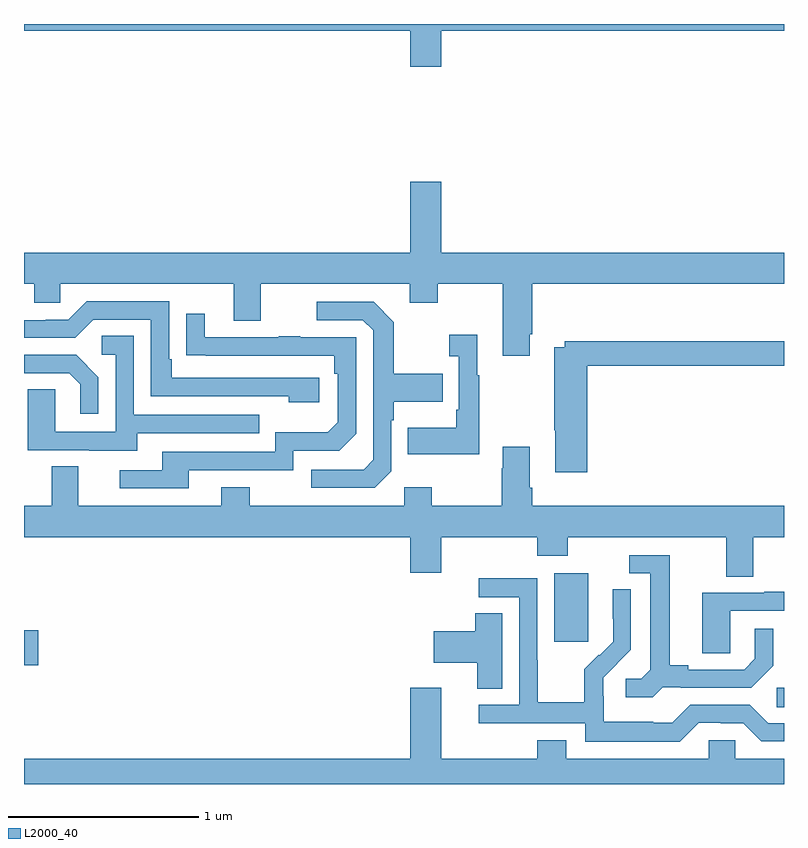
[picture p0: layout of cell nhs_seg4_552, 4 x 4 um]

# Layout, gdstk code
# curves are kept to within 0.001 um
import gdstk
lib = gdstk.Library(unit=1e-6, precision=1e-09)
def R(c, l, rs):  # rectangles x0, y0, x1, y1
    for r in rs: c.add(gdstk.rectangle(r[:2], r[2:], *l))
def P(c, l, *ps):  # polygons
    for p in ps: c.add(gdstk.Polygon(p, *l))
L2000_40 = (2000, 40)

nhs_seg4_552 = lib.new_cell('nhs_seg4_552')
R(nhs_seg4_552, L2000_40, [(142.962,749.305,143,749.406), (139,749.525,139.075,749.708), (141.791,749.649,141.97,750.01)])
P(nhs_seg4_552, L2000_40, [(141.196,752.864),(143,752.864),(143,752.9),(139,752.9),(139,752.864),(141.032,752.864),(141.032,752.676),(141.196,752.676)],
  [(141.661,751.267),(141.674,751.267),(141.674,751.532),(143,751.532),(143,751.696),(141.196,751.696),(141.196,752.071),(141.032,752.071),(141.032,751.696),(139,751.696),(139,751.532),(139.053,751.532),(139.053,751.434),(139.191,751.434),(139.191,751.532),(140.105,751.532),(140.105,751.338),(140.245,751.338),(140.245,751.532),(141.029,751.532),(141.029,751.433),(141.177,751.433),(141.177,751.532),(141.521,751.532),(141.521,751.155),(141.661,751.155)],
  [(140.554,751.038),(139.777,751.038),(139.777,751.135),(139.764,751.135),(139.764,751.44),(139.329,751.44),(139.233,751.344),(139.115,751.344),(139.115,751.341),(139,751.341),(139,751.248),(139.269,751.248),(139.365,751.344),(139.668,751.344),(139.668,750.942),(140.393,750.942),(140.393,750.908),(140.554,750.908)],
  [(140.934,750.546),(140.934,750.815),(140.947,750.815),(140.947,750.911),(141.203,750.911),(141.203,751.059),(140.947,751.059),(140.947,751.331),(140.841,751.437),(140.541,751.437),(140.541,751.341),(140.784,751.341),(140.838,751.287),(140.838,750.606),(140.787,750.555),(140.511,750.555),(140.511,750.459),(140.847,750.459)],
  [(139.867,750.552),(140.418,750.552),(140.418,750.654),(140.658,750.654),(140.748,750.744),(140.748,751.251),(140.453,751.251),(140.453,751.256),(140.341,751.256),(140.341,751.251),(139.951,751.251),(139.951,751.375),(139.855,751.375),(139.855,751.156),(140.632,751.155),(140.632,751.058),(140.652,751.058),(140.652,750.804),(140.599,750.751),(140.322,750.751),(140.322,750.648),(139.727,750.648),(139.727,750.552),(139.503,750.552),(139.503,750.456),(139.867,750.456)],
  [(141.397,751.051),(141.385,751.051),(141.385,751.264),(141.237,751.264),(141.237,751.151),(141.288,751.151),(141.288,750.871),(141.276,750.871),(141.276,750.775),(141.019,750.775),(141.019,750.635),(141.397,750.635)],
  [(139.597,750.747),(140.237,750.747),(140.237,750.843),(139.578,750.843),(139.578,751.259),(139.41,751.259),(139.41,751.158),(139.482,751.158),(139.482,750.753),(139.164,750.753),(139.164,750.977),(139.019,750.977),(139.019,750.657),(139.343,750.657),(139.343,750.653),(139.597,750.653)],
  [(141.965,751.102),(143,751.102),(143,751.231),(141.846,751.231),(141.846,751.198),(141.79,751.198),(141.79,750.763),(141.797,750.763),(141.797,750.54),(141.965,750.54)],
  [(139.392,751.042),(139.276,751.158),(139,751.158),(139,751.062),(139.238,751.062),(139.295,751.005),(139.295,750.849),(139.392,750.849)],
  [(141.674,750.46),(141.661,750.46),(141.661,750.676),(141.521,750.676),(141.521,750.563),(141.514,750.563),(141.514,750.364),(141.147,750.364),(141.147,750.463),(141,750.463),(141,750.364),(140.187,750.364),(140.187,750.463),(140.039,750.463),(140.039,750.364),(139.285,750.364),(139.285,750.572),(139.145,750.572),(139.145,750.364),(139,750.364),(139,750.2),(141.032,750.2),(141.032,750.012),(141.196,750.012),(141.196,750.2),(141.701,750.2),(141.701,750.101),(141.861,750.101),(141.861,750.2),(142.697,750.2),(142.697,749.992),(142.837,749.992),(142.837,750.2),(143,750.2),(143,750.364),(141.674,750.364)],
  [(142.362,749.409),(142.456,749.409),(142.456,749.406),(142.828,749.406),(142.944,749.522),(142.944,749.716),(142.847,749.716),(142.847,749.559),(142.79,749.502),(142.495,749.502),(142.495,749.525),(142.399,749.525),(142.399,750.105),(142.185,750.105),(142.185,750.009),(142.295,750.009),(142.295,749.501),(142.248,749.454),(142.167,749.454),(142.167,749.357),(142.31,749.357)],
  [(142.551,749.223),(142.667,749.223),(142.667,749.22),(142.785,749.22),(142.881,749.124),(143,749.124),(143,749.22),(142.917,749.22),(142.821,749.316),(142.506,749.316),(142.413,749.223),(142.313,749.223),(142.313,749.227),(142.05,749.227),(142.05,749.361),(142.048,749.361),(142.048,749.458),(142.194,749.606),(142.194,749.924),(142.098,749.924),(142.098,749.77),(142.1,749.77),(142.1,749.648),(142.029,749.577),(142.026,749.58),(141.949,749.503),(141.949,749.329),(141.705,749.329),(141.705,749.552),(141.702,749.552),(141.702,749.982),(141.393,749.982),(141.393,749.883),(141.606,749.883),(141.606,749.316),(141.393,749.316),(141.393,749.22),(141.954,749.22),(141.954,749.123),(142.451,749.123)],
  [(142.716,749.811),(143,749.811),(143,749.911),(142.895,749.911),(142.895,749.907),(142.571,749.907),(142.571,749.587),(142.716,749.587)],
  [(141.517,749.798),(141.374,749.798),(141.374,749.703),(141.156,749.703),(141.156,749.537),(141.386,749.537),(141.386,749.401),(141.517,749.401)],
  [(143,749.032),(142.743,749.032),(142.743,749.13),(142.605,749.13),(142.605,749.032),(141.853,749.032),(141.853,749.131),(141.701,749.131),(141.701,749.032),(141.196,749.032),(141.196,749.407),(141.032,749.407),(141.032,749.032),(139,749.032),(139,748.9),(143,748.9)])

lib.write_gds('nhs_seg4_552.gds')
